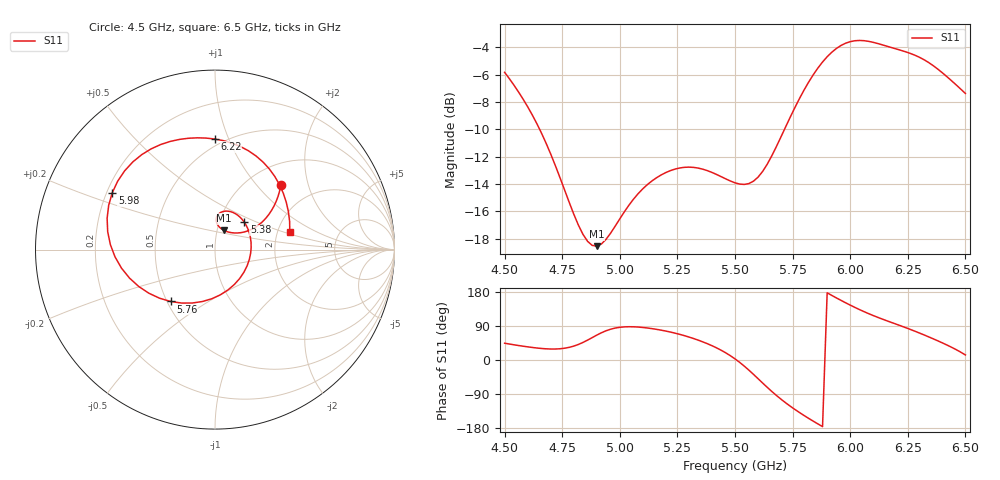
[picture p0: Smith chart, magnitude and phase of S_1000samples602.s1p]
! TOUCHSTONE file generated by CST MICROWAVE STUDIO
! Date and time: Fri Oct 28 17:55:05 2022
! Project name: L.cst
! Parameters = {Di=1.27; Epsilon_r=1.56; InnerDiameter=1.27; Length=2; Lf=10; Lg=60; OuterConductorThickness=0.2921; OuterDiameter=3.6; Wf=3; Wp=41.2; de=1.5; df=6.8; g=0.8; gx=0.839582; gy=1.17428; h=2.34; hf=1.524; px=11.5107; py=9.93344; w=9.7; wx=10.6711; wy=8.75916}
! Header version: 2018
! Port assignment regex: !\s*Touchstone port\s*([0-9]+)\s*=\s*(CST MWS port|CST DS port)\s*([0-9]+|Zmin|Zmax)\s*\(\"(.*)\"\)(\s*mode\s*([0-9]+))?.*
! Touchstone port assignment:
! Touchstone port 1 = CST MWS port 1 ("")
# GHz S DB R 50
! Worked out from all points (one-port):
!   101 points, 4.5 GHz to 6.5 GHz, reference 50 ohm
!   lowest |S11| = -18.5 dB at 4.9 GHz (marker M1), VSWR 1.27, Z = 53.8 + j11.8 ohm
!   |S11| at or under -10 dB: 4.652 GHz to 5.715 GHz (1.062 GHz wide, 20.5 % of centre)
!   S11 on the Smith chart (normalised r, x): 4.5 GHz: 1.39, +1.35; 5.38 GHz: 1.31, +0.42; 5.76 GHz: 0.52, -0.35; 5.98 GHz: 0.22, +0.25; 6.22 GHz: 0.45, +0.89; 6.5 GHz: 2.33, +0.56
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4.5  -5.82 44.3
4.64  -9.58 31.6
4.76  -14.41 31.0
4.84  -17.68 46.3
4.9  -18.54 65.7
5  -16.54 86.3
5.12  -14.03 84.4
5.26  -12.82 67.7
5.38  -13.02 43.0
5.5  -13.91 3.0
5.56  -13.96 -26.6
5.62  -13.07 -60.8
5.7  -10.53 -103.6
5.76  -8.40 -130.5
5.82  -6.52 -154.2
5.88  -5.06 -175.8
5.94  -4.07 163.9
5.98  -3.69 151.0
6  -3.57 144.9
6.04  -3.48 133.1
6.1  -3.62 117.3
6.16  -3.91 103.3
6.22  -4.21 90.1
6.26  -4.43 80.9
6.32  -4.89 66.3
6.38  -5.58 50.6
6.44  -6.44 33.6
6.5  -7.37 13.3
